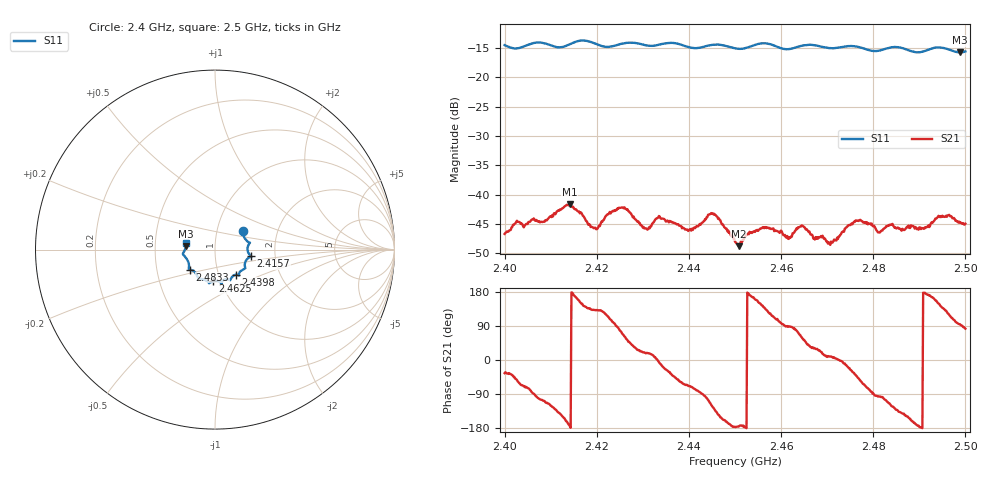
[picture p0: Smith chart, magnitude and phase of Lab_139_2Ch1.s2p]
# Hz S RI R 50
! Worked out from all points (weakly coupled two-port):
!   601 points, 2.4 GHz to 2.5 GHz, reference 50 ohm
!   highest |S21| = -41.68 dB at 2.4142 GHz (marker M1); lowest = -48.8 dB at 2.4508 GHz (marker M2)
!   lowest |S11| = -15.7 dB at 2.4988 GHz (marker M3), VSWR 1.39, Z = 36 + j1.38 ohm
!   |S11| at or under -10 dB: start of sweep to end of sweep
!   S12 and S22 are empty: the file has one direction only
!   S11 on the Smith chart (normalised r, x): 2.4 GHz: 1.33, +0.29; 2.4157 GHz: 1.49, -0.11; 2.4398 GHz: 1.21, -0.35; 2.4625 GHz: 0.92, -0.34; 2.4833 GHz: 0.74, -0.17; 2.5 GHz: 0.72, +0.06
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2.4e9  0.1564 0.1056  0.0038 -0.00263  0 0  0 0
2.414167e9  0.1905 -0.0259  -0.00821 -0.000771  0 0  0 0
2.415667e9  0.1996 -0.0368  -0.00704 0.00218  0 0  0 0
2.416667e9  0.2027 -0.0402  -0.00597 0.00363  0 0  0 0
2.419667e9  0.189 -0.0447  -0.00349 0.0039  0 0  0 0
2.425e9  0.1669 -0.0951  0.00161 0.00755  0 0  0 0
2.4305e9  0.15 -0.1144  0.00488 0.00166  0 0  0 0
2.433333e9  0.1342 -0.1341  0.00638 -0.000331  0 0  0 0
2.439833e9  0.1164 -0.1395  0.00179 -0.00456  0 0  0 0
2.445333e9  0.0849 -0.1702  -0.004 -0.00546  0 0  0 0
2.45e9  0.0641 -0.1654  -0.00397 -0.000254  0 0  0 0
2.450833e9  0.0555 -0.1664  -0.00362 -0.000296  0 0  0 0
2.456167e9  0.0384 -0.1919  -0.00403 0.00341  0 0  0 0
2.4625e9  -0.0106 -0.1769  0.000363 0.00467  0 0  0 0
2.4645e9  -0.0282 -0.1846  0.00277 0.00472  0 0  0 0
2.466667e9  -0.0333 -0.1869  0.00389 0.00239  0 0  0 0
2.470667e9  -0.0548 -0.169  0.00368 0.000576  0 0  0 0
2.476667e9  -0.0952 -0.1559  0.00408 -0.00439  0 0  0 0
2.481167e9  -0.1217 -0.1173  -0.000484 -0.00474  0 0  0 0
2.483333e9  -0.1398 -0.1113  -0.00221 -0.00504  0 0  0 0
2.498833e9  -0.1624 0.0186  -0.000436 0.00575  0 0  0 0
2.5e9  -0.1626 0.0373  0.000723 0.00561  0 0  0 0
